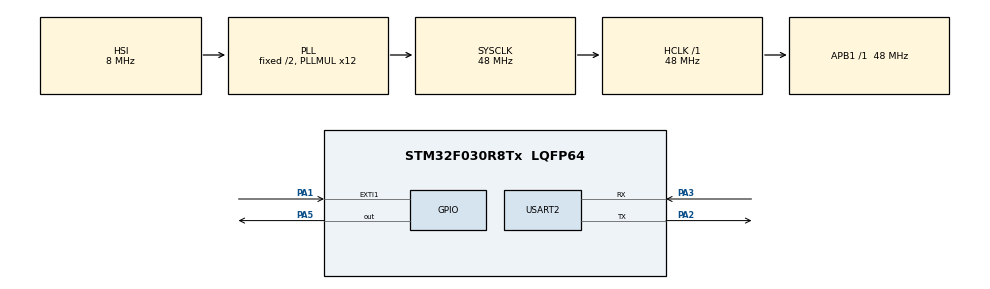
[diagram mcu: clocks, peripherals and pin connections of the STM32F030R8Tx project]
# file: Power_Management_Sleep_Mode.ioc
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Mcu.Family=STM32F0
Mcu.Name=STM32F030R8Tx
Mcu.Package=LQFP64
NVIC.EXTI0_1_IRQn=true\:0\:0\:false\:false\:true\:true\:true\:true
NVIC.USART2_IRQn=true\:0\:0\:false\:false\:true\:true\:true\:true
PA1.GPIO_PuPd=GPIO_PULLDOWN
PA1.Signal=GPXTI1
PA13.Mode=Serial_Wire
PA13.Signal=SYS_SWDIO
PA14.Mode=Serial_Wire
PA14.Signal=SYS_SWCLK
PA2.Mode=Asynchronous
PA2.Signal=USART2_TX
PA3.Mode=Asynchronous
PA3.Signal=USART2_RX
PA5.Signal=GPIO_Output
ProjectManager.HeapSize=0x200
ProjectManager.StackSize=0x400
ProjectManager.TargetToolchain=STM32CubeIDE
RCC.AHBFreq_Value=48000000
RCC.APB1Freq_Value=48000000
RCC.APB1TimFreq_Value=48000000
RCC.HCLKFreq_Value=48000000
RCC.PLLMUL=RCC_PLL_MUL12
RCC.SYSCLKFreq_VALUE=48000000
RCC.SYSCLKSource=RCC_SYSCLKSOURCE_PLLCLK
USART2.VirtualMode-Asynchronous=VM_ASYNC
board=NUCLEO-F030R8

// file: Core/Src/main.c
/* USER CODE BEGIN Header */
/**
 ******************************************************************************
 * @file           : main.c
 * @brief          : Main program body
 ******************************************************************************
 * @attention
 *
 * Copyright (c) 2026 STMicroelectronics.
 * All rights reserved.
 *
 * This software is licensed under terms that can be found in the LICENSE file
 * in the root directory of this software component.
 * If no LICENSE file comes with this software, it is provided AS-IS.
 *
 ******************************************************************************
 */
/* USER CODE END Header */
#include "main.h"

/* USER CODE BEGIN Includes */
#include "string.h"
/* USER CODE END Includes */

/* USER CODE BEGIN PD */
// Uyanma kaynakları için bayrak tanımlamaları
#define WAKEUP_NONE 0
#define WAKEUP_UART 1
#define WAKEUP_EXTI 2
//#define WAKEUP_EXTI2 3  // PB3 Butonundan da harici kesme gelmesi durumu için
/* USER CODE END PD */

UART_HandleTypeDef huart2;

/* USER CODE BEGIN PV */
char *str = { 0 }; //gonderilecek string datasyi saklamak icin degisken olusturuldu
uint8_t Rx_Data; //USART tan alinan verileri saklamak icin degisken olusturuldu

volatile uint8_t wakeup_source = WAKEUP_NONE; // Kesme içinde güncellenecek bayrak
/* USER CODE END PV */

void SystemClock_Config(void);
static void MX_GPIO_Init(void);
static void MX_USART2_UART_Init(void);

/* USER CODE BEGIN 0 */
void HAL_UART_RxCpltCallback(UART_HandleTypeDef *huart) {
	if (huart->Instance == USART2) {
		// Kesme fonksiyonunu gelen huart parametresiyle güvenli şekilde yeniliyoruz
		HAL_UART_Receive_IT(huart, &Rx_Data, 1);

		// Sadece bayrağı set edip çıkıyoruz
		wakeup_source = WAKEUP_UART;
	}
}

void HAL_GPIO_EXTI_Callback(uint16_t GPIO_Pin) {
	// 1. Şart: Kesme 1 numaralı pinden mi geldi?
	// 2. Şart: Bu kesme anında A portunun 1. pini (PA1) gerçekten lojik 1 seviyesinde mi?
	if ((GPIO_Pin == GPIO_PIN_1)
			&& (HAL_GPIO_ReadPin(GPIOA, GPIO_PIN_1) == GPIO_PIN_SET)) {

		// Sadece ve sadece PA1 pinine 3.3V uygulandığında bu bayrak set edilir
		wakeup_source = WAKEUP_EXTI;
	}
}

/*//EGER IKI HARICI KESME OLURSA (PA1 VE PB3)
 void HAL_GPIO_EXTI_Callback(uint16_t GPIO_Pin) {
 // 1. Durum: Kesme 1 numaralı pinden (PA1) mi geldi?
 if (GPIO_Pin == GPIO_PIN_1) {
 // PA1 port kontrolüyle sağlama alıyoruz
 if (HAL_GPIO_ReadPin(GPIOA, GPIO_PIN_1) == GPIO_PIN_SET) {
 wakeup_source = WAKEUP_EXTI1;
 }
 }
 // 2. Durum: Kesme 3 numaralı pinden (PB3) mi geldi?
 else if (GPIO_Pin == GPIO_PIN_3) {
 // PB3 port kontrolüyle sağlama alıyoruz
 if (HAL_GPIO_ReadPin(GPIOB, GPIO_PIN_3) == GPIO_PIN_SET) {
 wakeup_source = WAKEUP_EXTI2;
 }
 }
 }
 */
/* USER CODE END 0 */

int main(void) {

	/* MCU Configuration--------------------------------------------------------*/

	/* Reset of all peripherals, Initializes the Flash interface and the Systick. */
	HAL_Init();

	/* Configure the system clock */
	SystemClock_Config();

	/* Initialize all configured peripherals */
	MX_GPIO_Init();
	MX_USART2_UART_Init();
	/* USER CODE BEGIN 2 */
	HAL_UART_Receive_IT(&huart2, &Rx_Data, 1); //1 bayt veri gelince kesme olusacak
	/* USER CODE END 2 */

	/* Infinite loop */
	while (1) {

		/* USER CODE BEGIN 3 */
		str = "Going into SLEEP MODE in 5 seconds\n";
		HAL_UART_Transmit(&huart2, (uint8_t*) str, strlen(str), HAL_MAX_DELAY);

		// Hattın boşalmasını bekle (huart2 için)
		while (__HAL_UART_GET_FLAG(&huart2, UART_FLAG_TC) == RESET);

		// Uykuya gitmeden önce bayrağı temizle
		wakeup_source = WAKEUP_NONE;

		// Yeşil LED'i (PA5) yak ve 5 saniye bekle
		HAL_GPIO_WritePin(GPIOA, GPIO_PIN_5, GPIO_PIN_SET);
		HAL_Delay(5000);

		// UYKU HAZIRLIĞI
		HAL_SuspendTick();
		HAL_GPIO_WritePin(GPIOA, GPIO_PIN_5, GPIO_PIN_RESET);

		/* Sleep mode başlatılıyor. Kesme gelene kadar işlemci burada donar */
		HAL_PWR_EnterSLEEPMode(PWR_MAINREGULATOR_ON, PWR_SLEEPENTRY_WFI);

		// ------------ UYANMA GERÇEKLEŞTİ ------------
		HAL_ResumeTick(); // Sistem saatini (milisaniye sayacı) geri başlat

		// Standart uyanma mesajı
		str = "Wake up from SLEEP MODE\n";
		HAL_UART_Transmit(&huart2, (uint8_t*) str, strlen(str), HAL_MAX_DELAY);
		while (__HAL_UART_GET_FLAG(&huart2, UART_FLAG_TC) == RESET);

		// UYANMA KAYNAĞINA GÖRE MESAJ BASMA (Kesme yükü buraya devredildi)
		if (wakeup_source == WAKEUP_UART) {
			str = "WakeUP from Sleep by UART\n";
			HAL_UART_Transmit(&huart2, (uint8_t*) str, strlen(str),
					HAL_MAX_DELAY);
			while (__HAL_UART_GET_FLAG(&huart2, UART_FLAG_TC) == RESET);
		} else if (wakeup_source == WAKEUP_EXTI) {
			str = "WakeUP from Sleep by EXTI\n";
			HAL_UART_Transmit(&huart2, (uint8_t*) str, strlen(str),
					HAL_MAX_DELAY);
			while (__HAL_UART_GET_FLAG(&huart2, UART_FLAG_TC) == RESET);
		}

		// Kırpışma efekti
		for (int i = 0; i < 20; i++) {
			HAL_GPIO_TogglePin(GPIOA, GPIO_PIN_5);
			HAL_Delay(150);
		}

	}

	/* USER CODE END 3 */
}

void SystemClock_Config(void) {
	RCC_OscInitTypeDef RCC_OscInitStruct = { 0 };
	RCC_ClkInitTypeDef RCC_ClkInitStruct = { 0 };

	/** Initializes the RCC Oscillators according to the specified parameters
	 * in the RCC_OscInitTypeDef structure.
	 */
	RCC_OscInitStruct.OscillatorType = RCC_OSCILLATORTYPE_HSI;
	RCC_OscInitStruct.HSIState = RCC_HSI_ON;
	RCC_OscInitStruct.HSICalibrationValue = RCC_HSICALIBRATION_DEFAULT;
	RCC_OscInitStruct.PLL.PLLState = RCC_PLL_ON;
	RCC_OscInitStruct.PLL.PLLSource = RCC_PLLSOURCE_HSI;
	RCC_OscInitStruct.PLL.PLLMUL = RCC_PLL_MUL12;
	RCC_OscInitStruct.PLL.PREDIV = RCC_PREDIV_DIV1;
	if (HAL_RCC_OscConfig(&RCC_OscInitStruct) != HAL_OK) {
		Error_Handler();
	}

	/** Initializes the CPU, AHB and APB buses clocks
	 */
	RCC_ClkInitStruct.ClockType = RCC_CLOCKTYPE_HCLK | RCC_CLOCKTYPE_SYSCLK
			| RCC_CLOCKTYPE_PCLK1;
	RCC_ClkInitStruct.SYSCLKSource = RCC_SYSCLKSOURCE_PLLCLK;
	RCC_ClkInitStruct.AHBCLKDivider = RCC_SYSCLK_DIV1;
	RCC_ClkInitStruct.APB1CLKDivider = RCC_HCLK_DIV1;

	if (HAL_RCC_ClockConfig(&RCC_ClkInitStruct, FLASH_LATENCY_1) != HAL_OK) {
		Error_Handler();
	}
}

static void MX_USART2_UART_Init(void) {

	huart2.Instance = USART2;
	huart2.Init.BaudRate = 38400;
	huart2.Init.WordLength = UART_WORDLENGTH_8B;
	huart2.Init.StopBits = UART_STOPBITS_1;
	huart2.Init.Parity = UART_PARITY_NONE;
	huart2.Init.Mode = UART_MODE_TX_RX;
	huart2.Init.HwFlowCtl = UART_HWCONTROL_NONE;
	huart2.Init.OverSampling = UART_OVERSAMPLING_16;
	huart2.Init.OneBitSampling = UART_ONE_BIT_SAMPLE_DISABLE;
	huart2.AdvancedInit.AdvFeatureInit = UART_ADVFEATURE_NO_INIT;
	if (HAL_UART_Init(&huart2) != HAL_OK) {
		Error_Handler();
	}

}

static void MX_GPIO_Init(void) {
	GPIO_InitTypeDef GPIO_InitStruct = { 0 };

	/* GPIO Ports Clock Enable */
	__HAL_RCC_GPIOA_CLK_ENABLE();

	/*Configure GPIO pin Output Level */
	HAL_GPIO_WritePin(GPIOA, GPIO_PIN_5, GPIO_PIN_RESET);

	/*Configure GPIO pin : PA1 */
	GPIO_InitStruct.Pin = GPIO_PIN_1;
	GPIO_InitStruct.Mode = GPIO_MODE_IT_RISING;
	GPIO_InitStruct.Pull = GPIO_PULLDOWN;
	HAL_GPIO_Init(GPIOA, &GPIO_InitStruct);

	/*Configure GPIO pin : PA5 */
	GPIO_InitStruct.Pin = GPIO_PIN_5;
	GPIO_InitStruct.Mode = GPIO_MODE_OUTPUT_PP;
	GPIO_InitStruct.Pull = GPIO_NOPULL;
	GPIO_InitStruct.Speed = GPIO_SPEED_FREQ_LOW;
	HAL_GPIO_Init(GPIOA, &GPIO_InitStruct);

	/* EXTI interrupt init*/
	HAL_NVIC_SetPriority(EXTI0_1_IRQn, 0, 0);
	HAL_NVIC_EnableIRQ(EXTI0_1_IRQn);

}

void Error_Handler(void) {
	__disable_irq();
	while (1) {
	}
}
